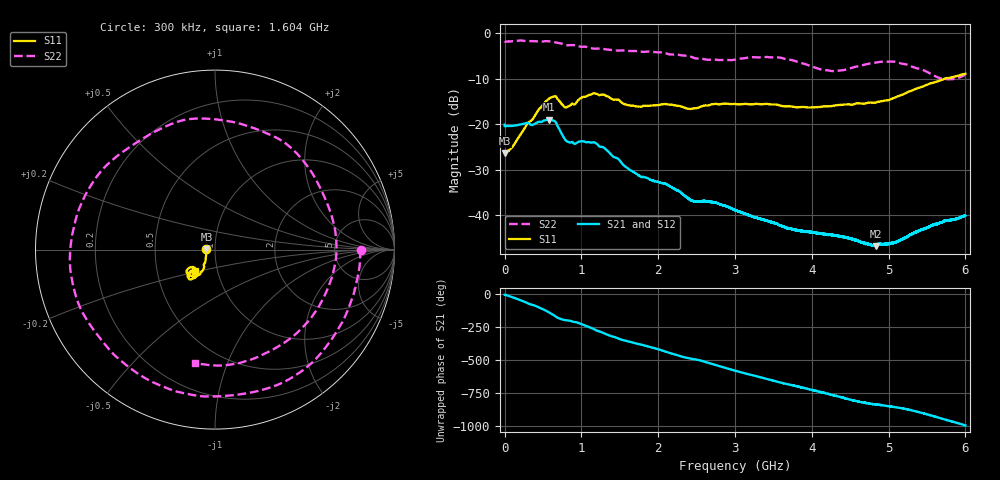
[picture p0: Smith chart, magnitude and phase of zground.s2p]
!  8/6/2020  02:27:51
! Ref Plane: 0.000 mm
# MHZ S MA R  50
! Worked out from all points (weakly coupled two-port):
!   10001 points, 300 kHz to 6 GHz, reference 50 ohm
!   highest |S21| = -18.99 dB at 579.9 MHz (marker M1); lowest = -46.9 dB at 4.832 GHz (marker M2)
!   lowest |S11| = -26.5 dB at 300 kHz (marker M3), VSWR 1.10, Z = 45.5 + j0.0907 ohm
!   |S11| at or under -10 dB: start of sweep to 5.73 GHz
!   |S22| runs from -10.2 to -1.6 dB; largest |S21 - S12| = 0.0024
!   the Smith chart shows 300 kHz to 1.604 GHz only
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0.3  0.04754 178.8  0.09884 -1.1  0.09652 -0.8  0.8153 -0.3
299.0851  0.1021 -127.0  0.1029 -65.9  0.1031 -65.9  0.8174 -87.8
579.871  0.1913 -129.2  0.1123 -136.9  0.1125 -136.9  0.8143 -169.2
807.8596  0.1531 -136.4  0.0647 163.2  0.06485 163.2  0.738 124.1
1000.45  0.1951 -125.7  0.06476 134.6  0.06479 134.7  0.7103 71.1
1259.637  0.2114 -134.5  0.05626 73.2  0.05626 73.2  0.6765 -2.8
1541.623  0.1689 -136.7  0.03595 12.0  0.03591 12.0  0.6464 -82.7
1793.01  0.157 -123.0  0.02606 -24.6  0.02615 -24.6  0.6238 -151.9
2000.6  0.162 -117.5  0.02307 -57.8  0.02305 -57.9  0.6161 153.0
2257.387  0.1587 -114.8  0.01853 -104.6  0.01857 -104.7  0.5811 84.5
2538.773  0.1534 -100.7  0.01412 -141.7  0.01408 -141.7  0.5274 4.8
2781.761  0.1652 -96.5  0.01333 176.5  0.01333 176.5  0.5082 -67.5
3000.15  0.1663 -92.1  0.01127 138.7  0.01134 139.2  0.5121 -131.8
3235.938  0.1656 -84.7  0.009555 103.3  0.009512 103.1  0.5445 165.6
3525.724  0.1642 -76.7  0.008121 59.0  0.008114 59.2  0.5414 94.1
4000.3  0.1527 -53.9  0.00646 -7.2  0.006463 -7.3  0.4294 -29.0
4215.689  0.1571 -41.5  0.005999 -38.6  0.006094 -38.2  0.3895 -97.1
4458.077  0.1648 -30.0  0.005621 -75.5  0.005659 -75.7  0.4016 -174.9
4831.858  0.1725 -9.1  0.004538 -118.6  0.004571 -119.0  0.4748 86.1
5000.45  0.184 1.1  0.004834 -132.1  0.004819 -132.2  0.4855 46.7
5501.425  0.2707 16.4  0.007299 165.6  0.007257 165.9  0.3752 -76.2
6000  0.3571 13.9  0.009835 81.3  0.009838 81.2  0.3488 119.7
